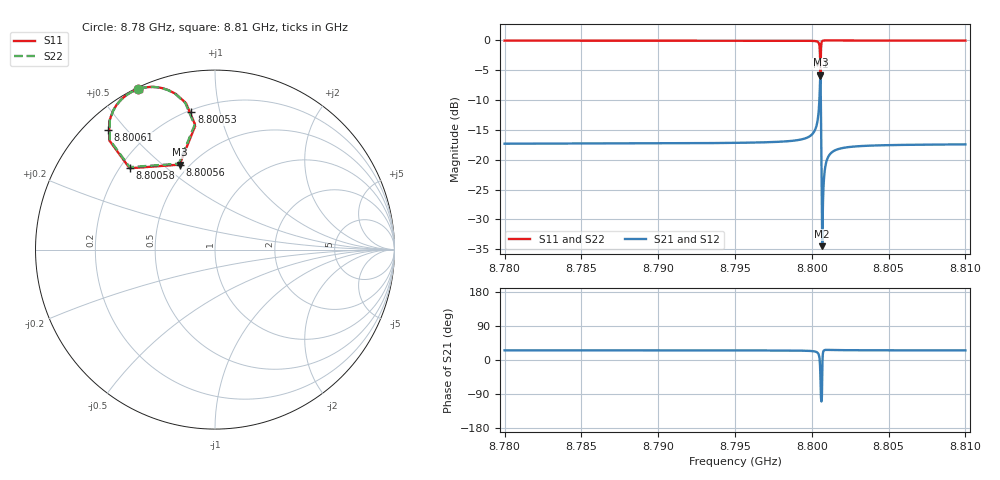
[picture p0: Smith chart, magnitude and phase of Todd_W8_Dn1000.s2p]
! Sonnet Data File
! From: emgraph Version : 16.52
! From Project: transmon_brgOdd
! Data is De-embedded
! Data File Written: 11/12/2017 17:05:32
!< HDATE 11/11/2017 22:57:51
!< MDATE 11/11/2017 22:57:51
!< PARAMS
!< Lj = 15.24
!< Gap = 6.0
!< Width = 10.0
!< Airgap = 6.0
!< Pwidth = 2000.0
!< Dist = 1000.0
!< END PARAMS
# GHZ S MA R 34.67000
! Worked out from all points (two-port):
!   3001 points, 8.78 GHz to 8.81 GHz, reference 34.67 ohm
!   highest |S21| = -6.00 dB at 8.80056 GHz (marker M1); lowest = -34.5 dB at 8.80068 GHz (marker M2)
!   |S21| within 3 dB of the highest: 8.80051 GHz to 8.800584 GHz (73.45 kHz wide, 0.000835 % of centre)
!   lowest |S11| = -5.8 dB at 8.80056 GHz (marker M3), VSWR 3.11, Z = 15.4 + j19.8 ohm
!   |S11| at or under -10 dB: nowhere
!   |S22| runs from -5.7 to -0.1 dB; largest |S21 - S12| = 0
!   S11 on the Smith chart (normalised r, x): 8.78 GHz: 0.01, +0.63; 8.80053 GHz: 0.21, +0.82; 8.80056 GHz: 0.44, +0.57; 8.80058 GHz: 0.24, +0.38; 8.80061 GHz: 0.07, +0.45; 8.81 GHz: 0.01, +0.63
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8.78  0.9907 115.5  0.1359 25.5  0.1359 25.5  0.9907 115.5
!< P1 F=8.78 Eeff=(5.13743391 -5.7017e-5) Z0=(34.6430374 -9.7216e-5) R=0.0 C=0.0
!< P2 F=8.78 Eeff=(5.13743391 -5.7017e-5) Z0=(34.6430374 -9.7216e-5) R=0.0 C=0.0
8.785  0.9907 115.5  0.1363 25.5  0.1363 25.5  0.9907 115.5
8.79  0.9906 115.4  0.1368 25.4  0.1368 25.4  0.9906 115.4
8.795  0.9904 115.3  0.1382 25.3  0.1382 25.3  0.9904 115.3
8.79877  0.9895 114.9  0.1439 24.9  0.1439 24.9  0.9895 114.9
8.8  0.986 113.9  0.1619 23.6  0.1619 23.6  0.986 113.9
8.80023  0.9815 112.8  0.1797 22.1  0.1797 22.1  0.9815 112.9
8.80036  0.9726 111.3  0.2065 19.7  0.2065 19.7  0.9727 111.3
8.80045  0.9486 108.3  0.2567 14.3  0.2567 14.3  0.9488 108.4
8.80049  0.9115 105.2  0.3095 7.9  0.3095 7.9  0.9121 105.4
8.80053  0.7785 99.7  0.4201 -9.4  0.4201 -9.4  0.7804 100.0
8.80056  0.5131 112.7  0.5012 -46.0  0.5012 -46.0  0.5194 112.8
8.80058  0.6568 136.4  0.3874 -79.3  0.3874 -79.3  0.6611 136.0
8.80061  0.8951 131.6  0.1724 -105.6  0.1724 -105.6  0.8964 131.4
8.80068  0.982 122.9  0.01887 -38.3  0.01887 -38.3  0.9822 122.8
8.80075  0.9914 120.1  0.05437 22.6  0.05437 22.6  0.9915 120.1
8.80079  0.9928 119.3  0.06846 25.2  0.06846 25.2  0.9929 119.2
8.80089  0.9937 118.1  0.08899 26.6  0.08899 26.6  0.9937 118.1
8.80098  0.9936 117.5  0.0991 26.7  0.0991 26.7  0.9937 117.5
8.8014  0.9927 116.5  0.1175 26.3  0.1175 26.3  0.9927 116.4
8.805  0.9912 115.6  0.1322 25.6  0.1322 25.6  0.9912 115.6
8.81  0.991 115.4  0.1341 25.4  0.1341 25.4  0.991 115.4
